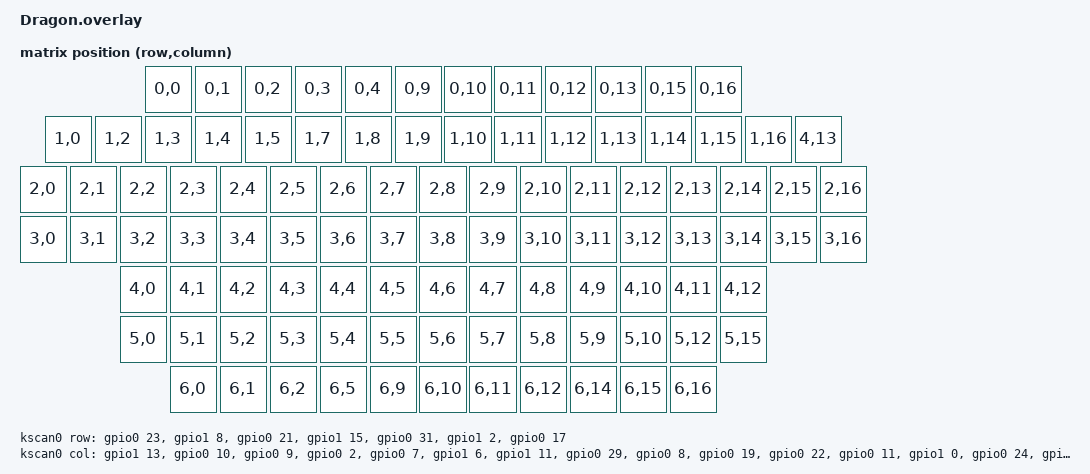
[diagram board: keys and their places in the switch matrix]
#include <dt-bindings/zmk/matrix_transform.h>

/ {
    chosen {
        zmk,kscan = &kscan0;
        zmk,matrix_transform = &default_transform;
    };

    kscan0: kscan_0 {
        compatible = "zmk,kscan-gpio-matrix";
        diode-direction = "col2row";

        row-gpios 
            = <&gpio0 23 (GPIO_ACTIVE_HIGH | GPIO_PULL_DOWN)> // ROW_1
            , <&gpio1 8  (GPIO_ACTIVE_HIGH | GPIO_PULL_DOWN)> // ROW_2
            , <&gpio0 21 (GPIO_ACTIVE_HIGH | GPIO_PULL_DOWN)> // ROW_3
            , <&gpio1 15 (GPIO_ACTIVE_HIGH | GPIO_PULL_DOWN)> // ROW_4
            , <&gpio0 31 (GPIO_ACTIVE_HIGH | GPIO_PULL_DOWN)> // ROW_5
            , <&gpio1 2  (GPIO_ACTIVE_HIGH | GPIO_PULL_DOWN)> // ROW_6
            , <&gpio0 17 (GPIO_ACTIVE_HIGH | GPIO_PULL_DOWN)> // ROW_7
            ;
    
        col-gpios 
            = <&gpio1 13 GPIO_ACTIVE_HIGH> //COL_17 
            , <&gpio0 10 GPIO_ACTIVE_HIGH> //COL_16 
            , <&gpio0 9  GPIO_ACTIVE_HIGH> //COL_15 
            , <&gpio0 2  GPIO_ACTIVE_HIGH> //COL_14 
            , <&gpio0 7  GPIO_ACTIVE_HIGH> //COL_13 
            , <&gpio1 6  GPIO_ACTIVE_HIGH> //COL_12 
            , <&gpio1 11 GPIO_ACTIVE_HIGH> //COL_11 
            , <&gpio0 29 GPIO_ACTIVE_HIGH> //COL_10 
            , <&gpio0 8  GPIO_ACTIVE_HIGH> //COL_9 
            , <&gpio0 19 GPIO_ACTIVE_HIGH> //COL_8 
            , <&gpio0 22 GPIO_ACTIVE_HIGH> //COL_7 
            , <&gpio0 11 GPIO_ACTIVE_HIGH> //COL_6 
            , <&gpio1 0  GPIO_ACTIVE_HIGH> //COL_5 
            , <&gpio0 24 GPIO_ACTIVE_HIGH> //COL_4 
            , <&gpio0 12 GPIO_ACTIVE_HIGH> //COL_3 
            , <&gpio1 4  GPIO_ACTIVE_HIGH> //COL_2
            , <&gpio0 20 GPIO_ACTIVE_HIGH> //COL_1
            ;

    };

    default_transform: keymap_transform_0 {
        compatible = "zmk,matrix-transform";
        columns = <17>;
        rows = <7>;

        map = <
            RC(0,0)  RC(0,1)  RC(0,2)  RC(0,3)  RC(0,4)                                    RC(0,9)  RC(0,10)  RC(0,11)  RC(0,12)  RC(0,13)                  RC(0,15) RC(0,16)
            
            RC(1,0)           RC(1,2)  RC(1,3)  RC(1,4)  RC(1,5)         RC(1,7)  RC(1,8)  RC(1,9)  RC(1,10)   RC(1,11)  RC(1,12)  RC(1,13)  RC(1,14)       RC(1,15) RC(1,16)  RC(4,13)

            RC(2,0)  RC(2,1)  RC(2,2)  RC(2,3)  RC(2,4)  RC(2,5)  RC(2,6)  RC(2,7)  RC(2,8)  RC(2,9)  RC(2,10)  RC(2,11)  RC(2,12)   RC(2,13)               RC(2,14)  RC(2,15)  RC(2,16)
            RC(3,0)    RC(3,1)  RC(3,2)  RC(3,3)  RC(3,4)  RC(3,5)  RC(3,6)  RC(3,7)  RC(3,8)  RC(3,9)  RC(3,10)  RC(3,11)  RC(3,12) RC(3,13)               RC(3,14)  RC(3,15)  RC(3,16)
            RC(4,0)      RC(4,1)  RC(4,2)  RC(4,3)  RC(4,4)  RC(4,5)  RC(4,6)  RC(4,7)  RC(4,8)  RC(4,9)  RC(4,10)  RC(4,11)         RC(4,12)
            RC(5,0)        RC(5,1)  RC(5,2)  RC(5,3)  RC(5,4)  RC(5,5)  RC(5,6)  RC(5,7)  RC(5,8)  RC(5,9)  RC(5,10)                 RC(5,12)                         RC(5,15)
            RC(6,0)      RC(6,1)  RC(6,2)                      RC(6,5)                             RC(6,9)  RC(6,10)       RC(6,11)  RC(6,12)               RC(6,14)  RC(6,15)  RC(6,16)
        >;

    };
};





